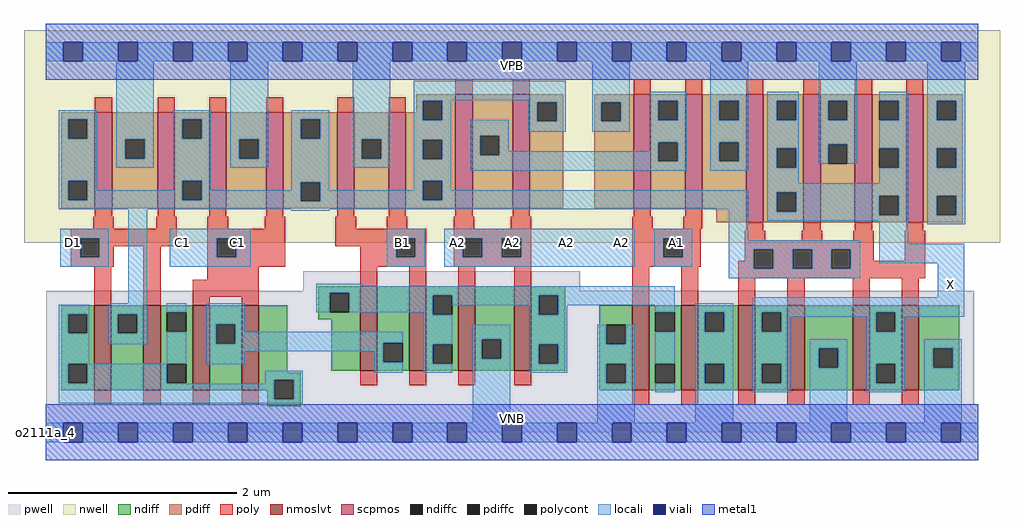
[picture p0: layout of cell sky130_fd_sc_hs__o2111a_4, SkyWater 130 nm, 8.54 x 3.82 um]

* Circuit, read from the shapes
.subckt sky130_fd_sc_hs__o2111a_4 A1 A2 B1 C1 D1 VGND VNB VPB VPWR X
XM1 n1 D1 n2 VNB sky130_fd_pr__nfet_01v8_lvt w=0.74 l=0.15 m=2
XM2 n3 C1 n2 VNB sky130_fd_pr__nfet_01v8_lvt w=0.74 l=0.15 m=2
XM3 n3 B1 n4 VNB sky130_fd_pr__nfet_01v8_lvt w=0.74 l=0.15 m=2
XM4 VGND A2 n4 VNB sky130_fd_pr__nfet_01v8_lvt w=0.74 l=0.15 m=2
XM5 n4 A1 VGND VNB sky130_fd_pr__nfet_01v8_lvt w=0.74 l=0.15 m=2
XM6 X n1 VGND VNB sky130_fd_pr__nfet_01v8_lvt w=0.74 l=0.15 m=4
XM7 VPWR D1 n1 VPB sky130_fd_pr__pfet_01v8 w=0.84 l=0.15 m=2
XM8 VPWR C1 n1 VPB sky130_fd_pr__pfet_01v8 w=0.84 l=0.15 m=2
XM9 VPWR B1 n1 VPB sky130_fd_pr__pfet_01v8 w=0.84 l=0.15 m=2
XM10 n5 A2 n1 VPB sky130_fd_pr__pfet_01v8 w=1 l=0.15 m=2
XM11 n5 A1 VPWR VPB sky130_fd_pr__pfet_01v8 w=1 l=0.15 m=2
XM12 X n1 VPWR VPB sky130_fd_pr__pfet_01v8 w=1.12 l=0.15 m=4
.ends

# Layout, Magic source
magic
tech sky130A
magscale 1 2
<< nwell >>
rect -38 332 1670 704
<< pwell >>
rect 451 248 935 282
rect 1 49 1625 248
rect 0 0 1632 49
<< scpmos >>
rect 86 392 116 560
rect 196 392 226 560
rect 286 392 316 560
rect 386 392 416 560
rect 510 392 540 560
rect 600 392 630 560
rect 717 392 747 592
rect 817 392 847 592
rect 1029 392 1059 592
rect 1119 392 1149 592
rect 1226 368 1256 592
rect 1326 368 1356 592
rect 1416 368 1446 592
rect 1506 368 1536 592
<< nmoslvt >>
rect 85 74 115 222
rect 171 74 201 222
rect 257 74 287 222
rect 343 74 373 222
rect 550 108 580 256
rect 636 108 666 256
rect 722 108 752 256
rect 820 108 850 256
rect 1026 74 1056 222
rect 1112 74 1142 222
rect 1212 74 1242 222
rect 1298 74 1328 222
rect 1412 74 1442 222
rect 1498 74 1528 222
<< ndiff >>
rect 477 244 550 256
rect 27 207 85 222
rect 27 173 39 207
rect 73 173 85 207
rect 27 120 85 173
rect 27 86 39 120
rect 73 86 85 120
rect 27 74 85 86
rect 115 207 171 222
rect 115 173 126 207
rect 160 173 171 207
rect 115 74 171 173
rect 201 210 257 222
rect 201 176 212 210
rect 246 176 257 210
rect 201 120 257 176
rect 201 86 212 120
rect 246 86 257 120
rect 201 74 257 86
rect 287 189 343 222
rect 287 155 298 189
rect 332 155 343 189
rect 287 74 343 155
rect 373 104 423 222
rect 477 210 497 244
rect 531 210 550 244
rect 477 198 550 210
rect 500 108 550 198
rect 580 157 636 256
rect 580 123 591 157
rect 625 123 636 157
rect 580 108 636 123
rect 666 240 722 256
rect 666 206 677 240
rect 711 206 722 240
rect 666 154 722 206
rect 666 120 677 154
rect 711 120 722 154
rect 666 108 722 120
rect 752 163 820 256
rect 752 129 763 163
rect 797 129 820 163
rect 752 108 820 129
rect 850 240 909 256
rect 850 206 863 240
rect 897 206 909 240
rect 850 154 909 206
rect 850 120 863 154
rect 897 120 909 154
rect 850 108 909 120
rect 969 188 1026 222
rect 969 154 981 188
rect 1015 154 1026 188
rect 969 120 1026 154
rect 373 92 446 104
rect 373 74 400 92
rect 388 58 400 74
rect 434 58 446 92
rect 969 86 981 120
rect 1015 86 1026 120
rect 969 74 1026 86
rect 1056 210 1112 222
rect 1056 176 1067 210
rect 1101 176 1112 210
rect 1056 120 1112 176
rect 1056 86 1067 120
rect 1101 86 1112 120
rect 1056 74 1112 86
rect 1142 210 1212 222
rect 1142 176 1153 210
rect 1187 176 1212 210
rect 1142 120 1212 176
rect 1142 86 1153 120
rect 1187 86 1212 120
rect 1142 74 1212 86
rect 1242 210 1298 222
rect 1242 176 1253 210
rect 1287 176 1298 210
rect 1242 120 1298 176
rect 1242 86 1253 120
rect 1287 86 1298 120
rect 1242 74 1298 86
rect 1328 147 1412 222
rect 1328 113 1353 147
rect 1387 113 1412 147
rect 1328 74 1412 113
rect 1442 210 1498 222
rect 1442 176 1453 210
rect 1487 176 1498 210
rect 1442 120 1498 176
rect 1442 86 1453 120
rect 1487 86 1498 120
rect 1442 74 1498 86
rect 1528 147 1599 222
rect 1528 113 1553 147
rect 1587 113 1599 147
rect 1528 74 1599 113
rect 388 46 446 58
<< pdiff >>
rect 648 580 717 592
rect 648 560 660 580
rect 27 548 86 560
rect 27 514 39 548
rect 73 514 86 548
rect 27 440 86 514
rect 27 406 39 440
rect 73 406 86 440
rect 27 392 86 406
rect 116 513 196 560
rect 116 479 139 513
rect 173 479 196 513
rect 116 392 196 479
rect 226 548 286 560
rect 226 514 239 548
rect 273 514 286 548
rect 226 440 286 514
rect 226 406 239 440
rect 273 406 286 440
rect 226 392 286 406
rect 316 513 386 560
rect 316 479 339 513
rect 373 479 386 513
rect 316 392 386 479
rect 416 548 510 560
rect 416 514 446 548
rect 480 514 510 548
rect 416 438 510 514
rect 416 404 446 438
rect 480 404 510 438
rect 416 392 510 404
rect 540 513 600 560
rect 540 479 553 513
rect 587 479 600 513
rect 540 392 600 479
rect 630 546 660 560
rect 694 546 717 580
rect 630 512 717 546
rect 630 478 660 512
rect 694 478 717 512
rect 630 440 717 478
rect 630 406 660 440
rect 694 406 717 440
rect 630 392 717 406
rect 747 519 817 592
rect 747 485 760 519
rect 794 485 817 519
rect 747 392 817 485
rect 847 578 906 592
rect 847 544 860 578
rect 894 544 906 578
rect 847 392 906 544
rect 960 578 1029 592
rect 960 544 972 578
rect 1006 544 1029 578
rect 960 392 1029 544
rect 1059 580 1119 592
rect 1059 546 1072 580
rect 1106 546 1119 580
rect 1059 508 1119 546
rect 1059 474 1072 508
rect 1106 474 1119 508
rect 1059 392 1119 474
rect 1149 580 1226 592
rect 1149 546 1179 580
rect 1213 546 1226 580
rect 1149 508 1226 546
rect 1149 474 1179 508
rect 1213 474 1226 508
rect 1149 392 1226 474
rect 1173 368 1226 392
rect 1256 580 1326 592
rect 1256 546 1279 580
rect 1313 546 1326 580
rect 1256 497 1326 546
rect 1256 463 1279 497
rect 1313 463 1326 497
rect 1256 420 1326 463
rect 1256 386 1279 420
rect 1313 386 1326 420
rect 1256 368 1326 386
rect 1356 580 1416 592
rect 1356 546 1369 580
rect 1403 546 1416 580
rect 1356 504 1416 546
rect 1356 470 1369 504
rect 1403 470 1416 504
rect 1356 368 1416 470
rect 1446 580 1506 592
rect 1446 546 1459 580
rect 1493 546 1506 580
rect 1446 497 1506 546
rect 1446 463 1459 497
rect 1493 463 1506 497
rect 1446 414 1506 463
rect 1446 380 1459 414
rect 1493 380 1506 414
rect 1446 368 1506 380
rect 1536 580 1605 592
rect 1536 546 1559 580
rect 1593 546 1605 580
rect 1536 497 1605 546
rect 1536 463 1559 497
rect 1593 463 1605 497
rect 1536 414 1605 463
rect 1536 380 1559 414
rect 1593 380 1605 414
rect 1536 368 1605 380
<< ndiffc >>
rect 39 173 73 207
rect 39 86 73 120
rect 126 173 160 207
rect 212 176 246 210
rect 212 86 246 120
rect 298 155 332 189
rect 497 210 531 244
rect 591 123 625 157
rect 677 206 711 240
rect 677 120 711 154
rect 763 129 797 163
rect 863 206 897 240
rect 863 120 897 154
rect 981 154 1015 188
rect 400 58 434 92
rect 981 86 1015 120
rect 1067 176 1101 210
rect 1067 86 1101 120
rect 1153 176 1187 210
rect 1153 86 1187 120
rect 1253 176 1287 210
rect 1253 86 1287 120
rect 1353 113 1387 147
rect 1453 176 1487 210
rect 1453 86 1487 120
rect 1553 113 1587 147
<< pdiffc >>
rect 39 514 73 548
rect 39 406 73 440
rect 139 479 173 513
rect 239 514 273 548
rect 239 406 273 440
rect 339 479 373 513
rect 446 514 480 548
rect 446 404 480 438
rect 553 479 587 513
rect 660 546 694 580
rect 660 478 694 512
rect 660 406 694 440
rect 760 485 794 519
rect 860 544 894 578
rect 972 544 1006 578
rect 1072 546 1106 580
rect 1072 474 1106 508
rect 1179 546 1213 580
rect 1179 474 1213 508
rect 1279 546 1313 580
rect 1279 463 1313 497
rect 1279 386 1313 420
rect 1369 546 1403 580
rect 1369 470 1403 504
rect 1459 546 1493 580
rect 1459 463 1493 497
rect 1459 380 1493 414
rect 1559 546 1593 580
rect 1559 463 1593 497
rect 1559 380 1593 414
<< poly >>
rect 717 592 747 618
rect 817 592 847 618
rect 1029 592 1059 618
rect 1119 592 1149 618
rect 1226 592 1256 618
rect 1326 592 1356 618
rect 1416 592 1446 618
rect 1506 592 1536 618
rect 86 560 116 586
rect 196 560 226 586
rect 286 560 316 586
rect 386 560 416 586
rect 510 560 540 586
rect 600 560 630 586
rect 86 377 116 392
rect 196 377 226 392
rect 286 377 316 392
rect 386 377 416 392
rect 510 377 540 392
rect 600 377 630 392
rect 717 377 747 392
rect 817 377 847 392
rect 1029 377 1059 392
rect 1119 377 1149 392
rect 83 356 119 377
rect 193 356 229 377
rect 44 340 229 356
rect 44 306 60 340
rect 94 326 229 340
rect 283 356 319 377
rect 383 356 419 377
rect 283 340 419 356
rect 94 306 119 326
rect 44 290 119 306
rect 85 222 115 290
rect 171 222 201 326
rect 283 306 299 340
rect 333 306 419 340
rect 507 356 543 377
rect 597 356 633 377
rect 714 356 750 377
rect 814 356 850 377
rect 507 340 666 356
rect 507 326 613 340
rect 283 290 419 306
rect 550 306 613 326
rect 647 306 666 340
rect 550 290 666 306
rect 714 340 850 356
rect 714 306 730 340
rect 764 306 798 340
rect 832 306 850 340
rect 714 290 850 306
rect 283 267 373 290
rect 257 237 373 267
rect 550 256 580 290
rect 636 256 666 290
rect 722 256 752 290
rect 820 256 850 290
rect 1026 356 1062 377
rect 1116 356 1149 377
rect 1026 340 1146 356
rect 1226 353 1256 368
rect 1326 353 1356 368
rect 1416 353 1446 368
rect 1506 353 1536 368
rect 1026 306 1081 340
rect 1115 306 1146 340
rect 1026 290 1146 306
rect 1223 336 1259 353
rect 1323 336 1359 353
rect 1413 336 1449 353
rect 1223 320 1449 336
rect 1223 300 1239 320
rect 257 222 287 237
rect 343 222 373 237
rect 1026 222 1056 290
rect 1112 222 1142 290
rect 1212 286 1239 300
rect 1273 286 1307 320
rect 1341 286 1375 320
rect 1409 300 1449 320
rect 1503 300 1539 353
rect 1409 286 1539 300
rect 1212 270 1539 286
rect 1212 222 1242 270
rect 1298 222 1328 270
rect 1412 222 1442 270
rect 1498 222 1528 270
rect 85 48 115 74
rect 171 48 201 74
rect 257 48 287 74
rect 343 48 373 74
rect 550 82 580 108
rect 636 82 666 108
rect 722 82 752 108
rect 820 82 850 108
rect 1026 48 1056 74
rect 1112 48 1142 74
rect 1212 48 1242 74
rect 1298 48 1328 74
rect 1412 48 1442 74
rect 1498 48 1528 74
<< polycont >>
rect 60 306 94 340
rect 299 306 333 340
rect 613 306 647 340
rect 730 306 764 340
rect 798 306 832 340
rect 1081 306 1115 340
rect 1239 286 1273 320
rect 1307 286 1341 320
rect 1375 286 1409 320
<< locali >>
rect 0 649 31 683
rect 65 649 127 683
rect 161 649 223 683
rect 257 649 319 683
rect 353 649 415 683
rect 449 649 511 683
rect 545 649 607 683
rect 641 649 703 683
rect 737 649 799 683
rect 833 649 895 683
rect 929 649 991 683
rect 1025 649 1087 683
rect 1121 649 1183 683
rect 1217 649 1279 683
rect 1313 649 1375 683
rect 1409 649 1471 683
rect 1505 649 1567 683
rect 1601 649 1632 683
rect 23 548 89 564
rect 23 514 39 548
rect 73 514 89 548
rect 23 440 89 514
rect 123 513 189 649
rect 123 479 139 513
rect 173 479 189 513
rect 123 463 189 479
rect 223 548 289 564
rect 223 514 239 548
rect 273 514 289 548
rect 23 406 39 440
rect 73 424 89 440
rect 223 440 289 514
rect 323 513 389 649
rect 323 479 339 513
rect 373 479 389 513
rect 323 463 389 479
rect 430 548 496 564
rect 430 514 446 548
rect 480 514 496 548
rect 223 424 239 440
rect 73 406 239 424
rect 273 424 289 440
rect 430 438 496 514
rect 537 513 603 649
rect 537 479 553 513
rect 587 479 603 513
rect 537 463 603 479
rect 644 581 910 615
rect 644 580 710 581
rect 644 546 660 580
rect 694 546 710 580
rect 844 578 910 581
rect 644 512 710 546
rect 644 478 660 512
rect 694 478 710 512
rect 430 424 446 438
rect 273 406 446 424
rect 23 404 446 406
rect 480 424 496 438
rect 644 440 710 478
rect 744 519 810 547
rect 844 544 860 578
rect 894 544 910 578
rect 844 526 910 544
rect 956 578 1022 649
rect 956 544 972 578
rect 1006 544 1022 578
rect 956 526 1022 544
rect 1056 580 1122 596
rect 1056 546 1072 580
rect 1106 546 1122 580
rect 744 485 760 519
rect 794 492 810 519
rect 1056 508 1122 546
rect 1056 492 1072 508
rect 794 485 1072 492
rect 744 474 1072 485
rect 1106 474 1122 508
rect 744 458 1122 474
rect 1163 580 1229 649
rect 1163 546 1179 580
rect 1213 546 1229 580
rect 1163 508 1229 546
rect 1163 474 1179 508
rect 1213 474 1229 508
rect 1163 458 1229 474
rect 1263 580 1318 596
rect 1263 546 1279 580
rect 1313 546 1318 580
rect 1263 497 1318 546
rect 1263 463 1279 497
rect 1313 463 1318 497
rect 1353 580 1419 649
rect 1353 546 1369 580
rect 1403 546 1419 580
rect 1353 504 1419 546
rect 1353 470 1369 504
rect 1403 470 1419 504
rect 1459 580 1509 596
rect 1493 546 1509 580
rect 1459 497 1509 546
rect 644 424 660 440
rect 480 406 660 424
rect 694 424 710 440
rect 1263 436 1318 463
rect 1493 463 1509 497
rect 1459 436 1509 463
rect 694 406 1229 424
rect 480 404 1229 406
rect 23 390 1229 404
rect 25 340 110 356
rect 25 306 60 340
rect 94 306 110 340
rect 25 290 110 306
rect 144 226 178 390
rect 430 388 496 390
rect 217 340 359 356
rect 217 306 299 340
rect 333 306 359 340
rect 217 290 359 306
rect 597 340 663 356
rect 597 306 613 340
rect 647 306 663 340
rect 597 290 663 306
rect 697 340 1031 356
rect 697 306 730 340
rect 764 306 798 340
rect 832 306 1031 340
rect 697 290 1031 306
rect 1065 340 1131 356
rect 1065 306 1081 340
rect 1115 306 1131 340
rect 1065 290 1131 306
rect 1195 336 1229 390
rect 1263 420 1509 436
rect 1263 386 1279 420
rect 1313 414 1509 420
rect 1313 386 1459 414
rect 1263 380 1459 386
rect 1493 380 1509 414
rect 1263 370 1509 380
rect 1195 320 1425 336
rect 1195 286 1239 320
rect 1273 286 1307 320
rect 1341 286 1375 320
rect 1409 286 1425 320
rect 1459 330 1509 370
rect 1543 580 1609 649
rect 1543 546 1559 580
rect 1593 546 1609 580
rect 1543 497 1609 546
rect 1543 463 1559 497
rect 1593 463 1609 497
rect 1543 414 1609 463
rect 1543 380 1559 414
rect 1593 380 1609 414
rect 1543 364 1609 380
rect 1459 296 1607 330
rect 1195 270 1425 286
rect 473 256 555 260
rect 473 244 1101 256
rect 23 207 76 223
rect 23 173 39 207
rect 73 173 76 207
rect 23 120 76 173
rect 110 207 178 226
rect 110 173 126 207
rect 160 173 178 207
rect 110 154 178 173
rect 212 210 246 226
rect 212 120 246 176
rect 23 86 39 120
rect 73 86 212 120
rect 282 189 348 226
rect 473 210 497 244
rect 531 240 1101 244
rect 531 210 677 240
rect 282 155 298 189
rect 332 176 348 189
rect 661 206 677 210
rect 711 222 863 240
rect 332 157 625 176
rect 332 155 591 157
rect 282 142 591 155
rect 282 119 348 142
rect 575 123 591 142
rect 23 85 246 86
rect 384 92 450 108
rect 575 104 625 123
rect 661 154 711 206
rect 847 206 863 222
rect 897 222 1101 240
rect 1561 236 1607 296
rect 897 206 913 222
rect 661 120 677 154
rect 661 104 711 120
rect 747 163 813 188
rect 747 129 763 163
rect 797 129 813 163
rect 384 85 400 92
rect 23 58 400 85
rect 434 58 450 92
rect 23 51 450 58
rect 747 17 813 129
rect 847 154 913 206
rect 1067 210 1101 222
rect 847 120 863 154
rect 897 120 913 154
rect 847 104 913 120
rect 965 154 981 188
rect 1015 154 1031 188
rect 965 120 1031 154
rect 965 86 981 120
rect 1015 86 1031 120
rect 965 17 1031 86
rect 1067 120 1101 176
rect 1067 70 1101 86
rect 1137 210 1203 226
rect 1137 176 1153 210
rect 1187 176 1203 210
rect 1137 120 1203 176
rect 1137 86 1153 120
rect 1187 86 1203 120
rect 1137 17 1203 86
rect 1237 210 1607 236
rect 1237 176 1253 210
rect 1287 202 1453 210
rect 1287 176 1303 202
rect 1237 120 1303 176
rect 1437 176 1453 202
rect 1487 202 1607 210
rect 1487 176 1503 202
rect 1237 86 1253 120
rect 1287 86 1303 120
rect 1237 70 1303 86
rect 1337 147 1403 163
rect 1337 113 1353 147
rect 1387 113 1403 147
rect 1337 17 1403 113
rect 1437 120 1503 176
rect 1437 86 1453 120
rect 1487 86 1503 120
rect 1437 70 1503 86
rect 1537 147 1603 163
rect 1537 113 1553 147
rect 1587 113 1603 147
rect 1537 17 1603 113
rect 0 -17 31 17
rect 65 -17 127 17
rect 161 -17 223 17
rect 257 -17 319 17
rect 353 -17 415 17
rect 449 -17 511 17
rect 545 -17 607 17
rect 641 -17 703 17
rect 737 -17 799 17
rect 833 -17 895 17
rect 929 -17 991 17
rect 1025 -17 1087 17
rect 1121 -17 1183 17
rect 1217 -17 1279 17
rect 1313 -17 1375 17
rect 1409 -17 1471 17
rect 1505 -17 1567 17
rect 1601 -17 1632 17
<< viali >>
rect 31 649 65 683
rect 127 649 161 683
rect 223 649 257 683
rect 319 649 353 683
rect 415 649 449 683
rect 511 649 545 683
rect 607 649 641 683
rect 703 649 737 683
rect 799 649 833 683
rect 895 649 929 683
rect 991 649 1025 683
rect 1087 649 1121 683
rect 1183 649 1217 683
rect 1279 649 1313 683
rect 1375 649 1409 683
rect 1471 649 1505 683
rect 1567 649 1601 683
rect 31 -17 65 17
rect 127 -17 161 17
rect 223 -17 257 17
rect 319 -17 353 17
rect 415 -17 449 17
rect 511 -17 545 17
rect 607 -17 641 17
rect 703 -17 737 17
rect 799 -17 833 17
rect 895 -17 929 17
rect 991 -17 1025 17
rect 1087 -17 1121 17
rect 1183 -17 1217 17
rect 1279 -17 1313 17
rect 1375 -17 1409 17
rect 1471 -17 1505 17
rect 1567 -17 1601 17
<< metal1 >>
rect 0 683 1632 715
rect 0 649 31 683
rect 65 649 127 683
rect 161 649 223 683
rect 257 649 319 683
rect 353 649 415 683
rect 449 649 511 683
rect 545 649 607 683
rect 641 649 703 683
rect 737 649 799 683
rect 833 649 895 683
rect 929 649 991 683
rect 1025 649 1087 683
rect 1121 649 1183 683
rect 1217 649 1279 683
rect 1313 649 1375 683
rect 1409 649 1471 683
rect 1505 649 1567 683
rect 1601 649 1632 683
rect 0 617 1632 649
rect 0 17 1632 49
rect 0 -17 31 17
rect 65 -17 127 17
rect 161 -17 223 17
rect 257 -17 319 17
rect 353 -17 415 17
rect 449 -17 511 17
rect 545 -17 607 17
rect 641 -17 703 17
rect 737 -17 799 17
rect 833 -17 895 17
rect 929 -17 991 17
rect 1025 -17 1087 17
rect 1121 -17 1183 17
rect 1217 -17 1279 17
rect 1313 -17 1375 17
rect 1409 -17 1471 17
rect 1505 -17 1567 17
rect 1601 -17 1632 17
rect 0 -49 1632 -17
<< labels >>
rlabel comment s 0 0 0 0 4 o2111a_4
flabel pwell s 0 0 1632 49 0 FreeSans 200 0 0 0 VNB
port 7 nsew ground bidirectional
flabel nwell s 0 617 1632 666 0 FreeSans 200 0 0 0 VPB
port 8 nsew power bidirectional
flabel metal1 s 0 617 1632 666 0 FreeSans 340 0 0 0 VPWR
port 9 nsew power bidirectional
flabel metal1 s 0 0 1632 49 0 FreeSans 340 0 0 0 VGND
port 6 nsew ground bidirectional
flabel locali s 31 316 65 350 0 FreeSans 340 0 0 0 D1
port 5 nsew signal input
flabel locali s 223 316 257 350 0 FreeSans 340 0 0 0 C1
port 4 nsew signal input
flabel locali s 319 316 353 350 0 FreeSans 340 0 0 0 C1
port 4 nsew signal input
flabel locali s 607 316 641 350 0 FreeSans 340 0 0 0 B1
port 3 nsew signal input
flabel locali s 703 316 737 350 0 FreeSans 340 0 0 0 A2
port 2 nsew signal input
flabel locali s 799 316 833 350 0 FreeSans 340 0 0 0 A2
port 2 nsew signal input
flabel locali s 895 316 929 350 0 FreeSans 340 0 0 0 A2
port 2 nsew signal input
flabel locali s 991 316 1025 350 0 FreeSans 340 0 0 0 A2
port 2 nsew signal input
flabel locali s 1087 316 1121 350 0 FreeSans 340 0 0 0 A1
port 1 nsew signal input
flabel locali s 1567 242 1601 276 0 FreeSans 340 0 0 0 X
port 10 nsew signal output
<< properties >>
string LEFsite unit
string LEFclass CORE
string FIXED_BBOX 0 0 1632 666
string GDS_FILE $PDKPATH/libs.ref/sky130_fd_sc_hs/gds/sky130_fd_sc_hs.gds
string LEFsymmetry X Y
string GDS_END 2383292
string GDS_START 2370370
<< end >>
